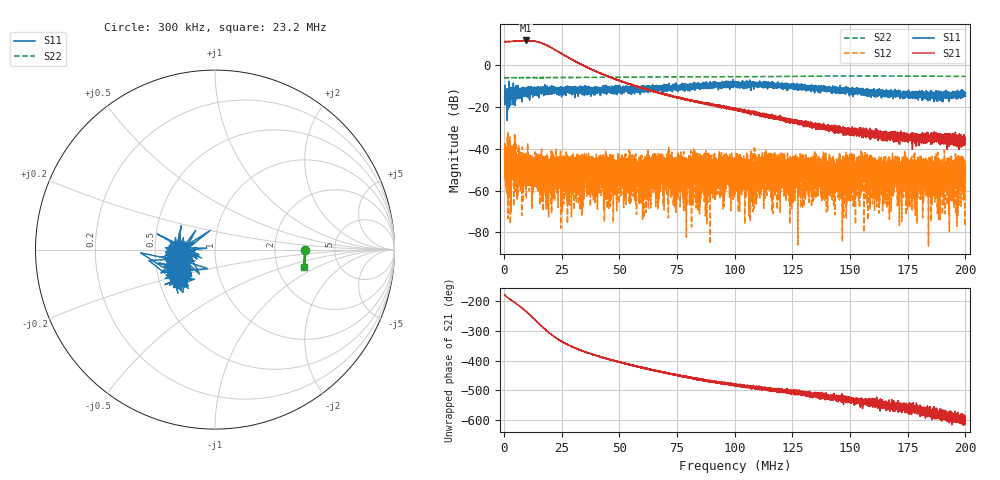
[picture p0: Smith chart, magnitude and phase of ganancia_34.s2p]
# Hz S DB R 50
! CMT, M5065, 19127446, 24.2.4/2
! Date: 11/8/2024 3:03:12 PM
! Data: Format (Calibration Info)
! Freq	S11:dB/Ang(F2)	S21:dB/Ang(F2)	S12:dB/Ang(F2)	S22:dB/Ang(F2)
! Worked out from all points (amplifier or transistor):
!   9000 points, 300 kHz to 200 MHz, reference 50 ohm
!   highest |S21| = 11.8 dB at 9.643 MHz (marker M1)
!   |S21| within 3 dB of that: start of sweep to 19.75 MHz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
!   unconditionally stable (mu >= 1): start of sweep to end of sweep
!   at 33.59 MHz: K = 70.98, MAG = 1.9 dB, |S12| = -46.6 dB
!   at 100.2 MHz: K = 1787.22, MAG = -19.0 dB, |S12| = -54.1 dB
!   at 200 MHz: K = 7437.40, MAG = -34.3 dB, |S12| = -50.8 dB
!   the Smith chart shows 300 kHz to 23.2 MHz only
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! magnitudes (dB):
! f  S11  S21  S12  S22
! 300 kHz  -14.7  11.2  -44.8  -6.0
! 2.519 MHz  -14.1  11.3  -53.2  -6.0
! 4.339 MHz  -13.1  11.4  -37.8  -6.0
! 7.756 MHz  -13.4  11.7  -46.3  -6.0
! 9.643 MHz  -12.2  11.8  -44.5  -6.0
! 19.1 MHz  -13.9  9.2  -47.8  -6.0
! 30.55 MHz  -10.9  2.1  -46.7  -5.9
! 33.59 MHz  -11.7  0.3  -46.6  -5.9
! 66.87 MHz  -11.4  -13.2  -66.7  -5.7
! 100.2 MHz  -8.9  -21.0  -54.1  -5.5
! 133.4 MHz  -10.8  -28.2  -55.9  -5.3
! 136.9 MHz  -11.5  -29.0  -46.5  -5.2
! 140.8 MHz  -11.5  -29.6  -53.2  -5.2
! 147.3 MHz  -11.7  -30.6  -53.5  -5.2
! 151.8 MHz  -11.2  -32.8  -53.9  -5.2
! 155.9 MHz  -13.0  -31.3  -47.3  -5.2
! 157.7 MHz  -13.1  -33.7  -51.9  -5.2
! 159.6 MHz  -13.5  -33.1  -50.7  -5.2
! 166.7 MHz  -12.8  -32.7  -53.0  -5.2
! 170.2 MHz  -13.8  -34.3  -50.3  -5.2
! 189.7 MHz  -17.2  -37.3  -49.5  -5.3
! 200 MHz  -14.9  -35.9  -50.8  -5.3
